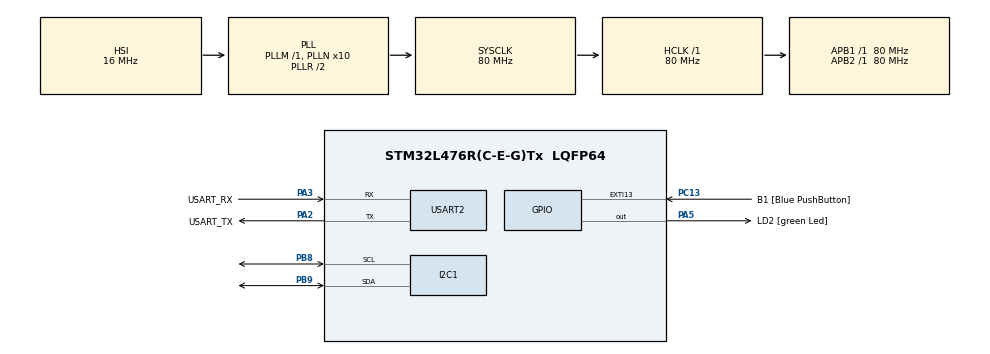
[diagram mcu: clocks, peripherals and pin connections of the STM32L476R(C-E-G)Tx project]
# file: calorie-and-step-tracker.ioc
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I2C1.Timing=0x10909CEC
Mcu.Family=STM32L4
Mcu.Name=STM32L476R(C-E-G)Tx
Mcu.Package=LQFP64
NVIC.PriorityGroup=NVIC_PRIORITYGROUP_4
PA13\ (JTMS-SWDIO).GPIO_Label=TMS
PA13\ (JTMS-SWDIO).Mode=Serial_Wire
PA13\ (JTMS-SWDIO).Signal=SYS_JTMS-SWDIO
PA14\ (JTCK-SWCLK).GPIO_Label=TCK
PA14\ (JTCK-SWCLK).Mode=Serial_Wire
PA14\ (JTCK-SWCLK).Signal=SYS_JTCK-SWCLK
PA2.GPIO_Label=USART_TX
PA2.GPIO_Mode=GPIO_MODE_AF_PP
PA2.GPIO_PuPd=GPIO_NOPULL
PA2.GPIO_Speed=GPIO_SPEED_FREQ_VERY_HIGH
PA2.Mode=Asynchronous
PA2.Signal=USART2_TX
PA3.GPIO_Label=USART_RX
PA3.GPIO_Mode=GPIO_MODE_AF_PP
PA3.GPIO_PuPd=GPIO_NOPULL
PA3.GPIO_Speed=GPIO_SPEED_FREQ_VERY_HIGH
PA3.Mode=Asynchronous
PA3.Signal=USART2_RX
PA5.GPIO_Label=LD2 [green Led]
PA5.GPIO_ModeDefaultOutputPP=GPIO_MODE_OUTPUT_PP
PA5.GPIO_PuPd=GPIO_NOPULL
PA5.GPIO_Speed=GPIO_SPEED_FREQ_LOW
PA5.Signal=GPIO_Output
PB3\ (JTDO-TRACESWO).GPIO_Label=SWO
PB3\ (JTDO-TRACESWO).Signal=SYS_JTDO-SWO
PB8.Mode=I2C
PB8.Signal=I2C1_SCL
PB9.Mode=I2C
PB9.Signal=I2C1_SDA
PC13.GPIO_Label=B1 [Blue PushButton]
PC13.GPIO_ModeDefaultEXTI=GPIO_MODE_IT_FALLING
PC13.GPIO_PuPd=GPIO_NOPULL
PC13.Signal=GPXTI13
PC14-OSC32_IN\ (PC14).Mode=LSE-External-Oscillator
PC14-OSC32_IN\ (PC14).Signal=RCC_OSC32_IN
PC15-OSC32_OUT\ (PC15).Mode=LSE-External-Oscillator
PC15-OSC32_OUT\ (PC15).Signal=RCC_OSC32_OUT
PH0-OSC_IN\ (PH0).Signal=RCC_OSC_IN
PH1-OSC_OUT\ (PH1).Signal=RCC_OSC_OUT
ProjectManager.HeapSize=0x200
ProjectManager.StackSize=0x400
ProjectManager.TargetToolchain=MDK-ARM V5.27
RCC.ADCFreq_Value=64000000
RCC.AHBFreq_Value=80000000
RCC.APB1Freq_Value=80000000
RCC.APB1TimFreq_Value=80000000
RCC.APB2Freq_Value=80000000
RCC.APB2TimFreq_Value=80000000
RCC.CortexFreq_Value=80000000
RCC.HCLKFreq_Value=80000000
RCC.HSE_VALUE=8000000
RCC.HSI_VALUE=16000000
RCC.MSI_VALUE=4000000
RCC.PLLN=10
RCC.PLLSourceVirtual=RCC_PLLSOURCE_HSI
RCC.PREFETCH_ENABLE=1
RCC.SYSCLKFreq_VALUE=80000000
RCC.SYSCLKSource=RCC_SYSCLKSOURCE_PLLCLK
RCC.USBFreq_Value=64000000
RCC.VCOOutputFreq_Value=160000000
USART2.VirtualMode-Asynchronous=VM_ASYNC
board=NUCLEO-L476RG

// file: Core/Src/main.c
/* USER CODE BEGIN Header */
/**
  ******************************************************************************
  * @file           : main.c
  * @brief          : Main program body
  ******************************************************************************
  * @attention
  *
  * <h2><center>&copy; Copyright (c) 2022 STMicroelectronics.
  * All rights reserved.</center></h2>
  *
  * This software component is licensed by ST under BSD 3-Clause license,
  * the "License"; You may not use this file except in compliance with the
  * License. You may obtain a copy of the License at:
  *                        opensource.org/licenses/BSD-3-Clause
  *
  ******************************************************************************
  */
/* USER CODE END Header */
#include "main.h"

/* USER CODE BEGIN Includes */
#include <string.h>
#include <stdio.h>
#include <stdint.h>
#include <stdbool.h>
#include <math.h>
#include "max30102_for_stm32_hal.h"
#include "ssd1306.h"
#include "fonts.h"
#include "test.h"
/* USER CODE END Includes */

/* USER CODE BEGIN PTD */
typedef enum PulseStateMachine {
    PULSE_IDLE,
	PULSE_TRACE_UP,
	PULSE_TRACE_DOWN
} PulseStateMachine;
/* USER CODE END PTD */

/* USER CODE BEGIN PD */
// Sensor Slaves
#define ACCEL_GYRO_SLAVE_ID		(0x00)
#define ACCEL_GYRO_ADDRESS      (0x68<<1)
// Step Threshold
#define STEP_THRESHOLD			(1.1)
// Pulse Detection Parameters
#define ALPHA                 	(0.90)
#define PULSE_MIN_THRESHOLD     (150)
#define PULSE_MAX_THRESHOLD     (2000)
#define PULSE_GO_DOWN_THRESHOLD (1)
#define PULSE_BPM_SAMPLE_SIZE   (10)
// Calorie Parameters
#define WEIGHT					(200) // in pounds
#define AGE						(25)
/* USER CODE END PD */

I2C_HandleTypeDef hi2c1;
UART_HandleTypeDef huart2;
HAL_StatusTypeDef I2C_Status;

/* USER CODE BEGIN PV */
struct fifo_t {
    uint32_t rawIR;
    uint32_t rawRed;
};

struct dcFilter_t {
    float w;
    float result;
};

struct meanDiffFilter_t {
    float values[10];
    uint8_t index;
    float sum;
    uint8_t count;
};

/* MPU-9250 */
// WHO_AM_I Register
static const uint8_t WHO_AM_I =                 0x75;
// Data Registers
static const uint8_t ACCEL_XOUT_H =             0x3B;
static const uint8_t GYRO_XOUT_H =              0x43;
// Configuration register
static const uint8_t PWR_MGMT_1 =               0x6B;
static const uint8_t INT_BYPASS_CONFIG_AD =     0x37;

/* MAX30101 */
// Status Registers
static const uint8_t MAX30105_INTSTAT1 =		0x00;
static const uint8_t MAX30105_INTSTAT2 =		0x01;
static const uint8_t MAX30105_INTENABLE1 =		0x02;
static const uint8_t MAX30105_INTENABLE2 =		0x03;
// FIFO Registers
static const uint8_t MAX30105_FIFOWRITEPTR = 	0x04;
static const uint8_t MAX30105_FIFOOVERFLOW = 	0x05;
static const uint8_t MAX30105_FIFOREADPTR = 	0x06;
static const uint8_t MAX30105_FIFODATA =		0x07;
// Configuration Registers
static const uint8_t MAX30105_FIFOCONFIG = 		0x08;
static const uint8_t MAX30105_MODECONFIG = 		0x09;
static const uint8_t MAX30105_SPO2CONFIG = 	    0x0A;
static const uint8_t MAX30105_LED1_PULSEAMP = 	0x0C;
static const uint8_t MAX30105_LED2_PULSEAMP = 	0x0D;
static const uint8_t MAX30105_LED3_PULSEAMP = 	0x0E;
static const uint8_t MAX30105_LED_PROX_AMP = 	0x10;
static const uint8_t MAX30105_MULTILEDCONFIG1 = 0x11;
static const uint8_t MAX30105_MULTILEDCONFIG2 = 0x12;
// Die Temperature Registers
static const uint8_t MAX30105_DIETEMPINT = 		0x1F;
static const uint8_t MAX30105_DIETEMPFRAC =     0x20;
static const uint8_t MAX30105_DIETEMPCONFIG = 	0x21;
// Proximity Function Registers
static const uint8_t MAX30105_PROXINTTHRESH = 	0x30;
// Part ID Registers
static const uint8_t MAX30105_REVISIONID = 		0xFE;
static const uint8_t MAX30105_PARTID = 			0xFF;

// Variables
uint8_t buf[100] =                          {0};
uint8_t data[500] =                         {0};
int16_t X_AXIS =                            0;
int16_t Y_AXIS =                            0;
int16_t Z_AXIS =                            0;
float X_OUTPUT =                            0.0;
float Y_OUTPUT =                            0.0;
float Z_OUTPUT =                            0.0;
uint32_t steps =                            0;
uint32_t counter =                          0;
uint8_t currentPulseDetectorState =         0;
uint32_t lastBeatThreshold =                0;
struct dcFilter_t dcFilterIR =              {0};
struct meanDiffFilter_t medianFilterIR =    {0};
float time =                                0;
max30102_t max30102;
/* USER CODE END PV */

void SystemClock_Config(void);
static void MX_GPIO_Init(void);
static void MX_I2C1_Init(void);
static void MX_USART2_UART_Init(void);
/* USER CODE BEGIN PFP */
void switchSlaveDevice(uint8_t command);
void wakeUpSensor(void);
void calculateAccelError(double *AccelXError, double *AccelYError, double *AccelZError);
void readAccelerometer(void);
void configureMAX3010X(void);
struct dcFilter_t dcRemoval(float x, float prev_w, float alpha);
float meanDiff(float M, struct meanDiffFilter_t* filterValues);
void detectPulse(float sensor_value);
/* USER CODE END PFP */

/* USER CODE BEGIN 0 */
void switchSlaveDevice(uint8_t command) {
    data[0] = command;
    /* Writing to the INT_BYPASS_CONFIG_AD register */
    I2C_Status = HAL_I2C_Mem_Write(&hi2c1, ACCEL_GYRO_ADDRESS, INT_BYPASS_CONFIG_AD, I2C_MEMADD_SIZE_8BIT, data, 1, HAL_MAX_DELAY);
    if ( I2C_Status != HAL_OK ) {
        strcpy((char*)buf, "Error switching slave device over I2C!\r\n");
        HAL_UART_Transmit(&huart2, buf, strlen((char*) buf), HAL_MAX_DELAY);
    }
    else{
        strcpy((char*)buf, "Success switching slave device over I2C!\r\n");
        HAL_UART_Transmit(&huart2, buf, strlen((char*) buf), HAL_MAX_DELAY);
    }
}

void wakeUpSensor(void) {
	/* Reading the WHO_AM_I register of the Accel-Gyro Slave */
	I2C_Status = HAL_I2C_Mem_Read(&hi2c1, ACCEL_GYRO_ADDRESS, WHO_AM_I, I2C_MEMADD_SIZE_8BIT, data, 1, HAL_MAX_DELAY);
	if ( I2C_Status != HAL_OK ) {
		strcpy((char*)buf, "Error Reading WHO_AM_I with I2C!\r\n");
		HAL_UART_Transmit(&huart2, buf, strlen((char*) buf), HAL_MAX_DELAY);
	}
	else
	{
		strcpy((char*)buf, "Success Reading WHO_AM_I with I2C!\r\n");
		HAL_UART_Transmit(&huart2, buf, strlen((char*) buf), HAL_MAX_DELAY);

		if(data[0] != 0x71) {
			strcpy((char*)buf, "Invalid WHO_AM_I Register value!\r\n");
			HAL_UART_Transmit(&huart2, buf, strlen((char*) buf), HAL_MAX_DELAY);
			sprintf((char*)buf, "Actual value is: %x\r\n", data[0]);
		HAL_UART_Transmit(&huart2, buf, strlen((char*) buf), HAL_MAX_DELAY);
		}
		else
		{
			strcpy((char*)buf, "Correct WHO_AM_I Register value!\r\n");
			HAL_UART_Transmit(&huart2, buf, strlen((char*) buf), HAL_MAX_DELAY);
		}
	}

	data[0] = 0x00;
	/* Writing to the PWR_MGMT_1 register to turn off the sleep mode */
	I2C_Status = HAL_I2C_Mem_Write(&hi2c1, ACCEL_GYRO_ADDRESS, PWR_MGMT_1, I2C_MEMADD_SIZE_8BIT, data, 1, HAL_MAX_DELAY);
	if ( I2C_Status != HAL_OK ) {
		strcpy((char*)buf, "Error Writing I2C!\r\n");
		HAL_UART_Transmit(&huart2, buf, strlen((char*) buf), HAL_MAX_DELAY);
	}
	else {
		strcpy((char*)buf, "Success Writing I2C!\r\n");
		HAL_UART_Transmit(&huart2, buf, strlen((char*) buf), HAL_MAX_DELAY);
	}
}

void calculateAccelError(double *AccelXError, double *AccelYError, double *AccelZError) {
/* ------------------------------------------ Calculating the ERROR  ---------------------------------------- */
	uint8_t counter = 0;
	while (counter < 100)
	{
		/* --------------------------------------- ACCELEROMETER ERROR --------------------------------------------- */
		for(uint8_t i = 0; i < 6; i++)
		{
			I2C_Status = HAL_I2C_Mem_Read(&hi2c1, ACCEL_GYRO_ADDRESS, (ACCEL_XOUT_H + i), I2C_MEMADD_SIZE_8BIT, (data + i), 1, HAL_MAX_DELAY);
			if ( I2C_Status != HAL_OK ) {
				strcpy((char*)buf, "Error Reading I2C!\r\n");
				HAL_UART_Transmit(&huart2, buf, strlen((char*) buf), HAL_MAX_DELAY);
			}
		}
		X_AXIS = (data[0] << 8) | data[1];
		Y_AXIS = (data[2] << 8) | data[3];
		Z_AXIS = (data[4] << 8) | data[5];

		*AccelXError += X_AXIS/16384.0;
		*AccelYError += Y_AXIS/16384.0;
		*AccelZError += Z_AXIS/16384.0;

		counter++;
	}
	*AccelXError = *AccelXError/100.0;
	*AccelYError = *AccelYError/100.0;
	*AccelZError = *AccelZError/100.0 - 1;
}

void readAccelerometer(void) {
	for(uint8_t i = 0; i < 6; i++)
	{
		I2C_Status = HAL_I2C_Mem_Read(&hi2c1, ACCEL_GYRO_ADDRESS, (ACCEL_XOUT_H + i), I2C_MEMADD_SIZE_8BIT, (data + i), 1, HAL_MAX_DELAY);
		if ( I2C_Status != HAL_OK ) {
			strcpy((char*)buf, "Error reading accelerometer data with I2C!\r\n");
			HAL_UART_Transmit(&huart2, buf, strlen((char*) buf), HAL_MAX_DELAY);
		}
	}
}
void configureMAX3010X(void) {
    uint8_t en_reg[2] = {0};
	en_reg[0] = 0x40;
	max30102_write(&max30102, MAX30105_MODECONFIG, en_reg, 1);

	en_reg[0] = 0x50;
	max30102_write(&max30102, MAX30105_FIFOCONFIG, en_reg, 1);

	en_reg[0] = 0x07;
	max30102_write(&max30102, MAX30105_MODECONFIG, en_reg, 1);

	en_reg[0] = 0x20 | 0x0C | 0x03;
	max30102_write(&max30102, MAX30105_SPO2CONFIG, en_reg, 1);

	en_reg[0] = 0x1F;
	max30102_write(&max30102, MAX30105_LED1_PULSEAMP, en_reg, 1);

	en_reg[0] = 0x1F;
	max30102_write(&max30102, MAX30105_LED2_PULSEAMP, en_reg, 1);

	en_reg[0] = 0x1F;
	max30102_write(&max30102, MAX30105_LED3_PULSEAMP, en_reg, 1);

	en_reg[0] = 0x1F;
	max30102_write(&max30102, MAX30105_LED_PROX_AMP, en_reg, 1);

	en_reg[0] = 0x01 | (0x02 << 4);
	max30102_write(&max30102, MAX30105_MULTILEDCONFIG1, en_reg, 1);

	en_reg[0] = 0x00;
	max30102_write(&max30102, MAX30105_FIFOWRITEPTR, en_reg, 1);

	en_reg[0] = 0x00;
	max30102_write(&max30102, MAX30105_FIFOOVERFLOW, en_reg, 1);

	en_reg[0] = 0x00;
	max30102_write(&max30102, MAX30105_FIFOREADPTR, en_reg, 1);

	en_reg[0] = 0x0A;
    max30102_write(&max30102, MAX30105_LED1_PULSEAMP, en_reg, 1);

	en_reg[0] = 0x00;
	max30102_write(&max30102, MAX30105_LED3_PULSEAMP, en_reg, 1);
}
struct dcFilter_t dcRemoval(float x, float prev_w, float alpha) {
    struct dcFilter_t filtered;
    filtered.w = x + alpha * prev_w;
    filtered.result = filtered.w - prev_w;

    return filtered;
}
float meanDiff(float M, struct meanDiffFilter_t* filterValues) {
    float avg = 0;

    filterValues->sum -= filterValues->values[filterValues->index];
    filterValues->values[filterValues->index] = M;
    filterValues->sum += filterValues->values[filterValues->index];

    filterValues->index++;
    filterValues->index = filterValues->index % 10;

    if(filterValues->count < 10)
        filterValues->count++;

    avg = filterValues->sum / filterValues->count;
    return avg - M;
}
void detectPulse(float sensor_value) {
    static float prev_sensor_value = 0;
    static uint8_t values_went_down = 0;
    static uint32_t currentBeat = 0;
    static uint32_t lastBeat = 0;

    if(sensor_value > PULSE_MAX_THRESHOLD)
    {
        currentPulseDetectorState = PULSE_IDLE;
        prev_sensor_value = 0;
        lastBeat = 0;
        currentBeat = 0;
        values_went_down = 0;
        lastBeatThreshold = 0;
        return;
    }

    switch(currentPulseDetectorState)
    {
        case PULSE_IDLE:
            if(sensor_value >= PULSE_MIN_THRESHOLD) {
                currentPulseDetectorState = PULSE_TRACE_UP;
                values_went_down = 0;
            }
            break;

        case PULSE_TRACE_UP:
            if(sensor_value > prev_sensor_value)
            {
                currentBeat = HAL_GetTick();
                lastBeatThreshold = sensor_value;
            }
            else
            {
                sprintf((char*)buf, "Peak reached: %f\r\n", sensor_value);
                HAL_UART_Transmit(&huart2, buf, strlen((char*) buf), HAL_MAX_DELAY);
                sprintf((char*)buf, "Previous value: %f\r\n", prev_sensor_value);
                HAL_UART_Transmit(&huart2, buf, strlen((char*) buf), HAL_MAX_DELAY);
                counter++;
                currentPulseDetectorState = PULSE_TRACE_DOWN;
                return;
            }
            break;

        case PULSE_TRACE_DOWN:
            if(sensor_value < prev_sensor_value)
            {
                values_went_down++;
            }

            if(sensor_value < PULSE_MIN_THRESHOLD)
            {
                currentPulseDetectorState = PULSE_IDLE;
            }
            break;
    }

    prev_sensor_value = sensor_value;
    return;
}
/* USER CODE END 0 */

int main(void)
{

    /* MCU Configuration--------------------------------------------------------*/

    /* Reset of all peripherals, Initializes the Flash interface and the Systick. */
    HAL_Init();

    /* Configure the system clock */
    SystemClock_Config();

    /* Initialize all configured peripherals */
    MX_GPIO_Init();
    MX_I2C1_Init();
    MX_USART2_UART_Init();

    /* USER CODE BEGIN 2 */
    /* MPU-9250 */
    switchSlaveDevice(ACCEL_GYRO_SLAVE_ID);
    wakeUpSensor();

    double AccelXError = 0.0;
    double AccelYError = 0.0;
    double AccelZError = 0.0;

    calculateAccelError(&AccelXError, &AccelYError, &AccelZError);
    /* USER CODE END 2 */

    /* MAX30101 */
    max30102_init(&max30102, &hi2c1);
    max30102_reset(&max30102);
    max30102_clear_fifo(&max30102);
    configureMAX3010X();

    /* SSD1306 */
    SSD1306_Init();

    float offset = HAL_GetTick();

    /* Infinite loop */
    /* USER CODE BEGIN WHILE */
    while (1)
    {
        HAL_GPIO_TogglePin (GPIOA, GPIO_PIN_5);
        HAL_Delay (100);

        /* Reading Acceleremeter Data */
        readAccelerometer();

        X_AXIS = (data[0] << 8) | data[1];
        Y_AXIS = (data[2] << 8) | data[3];
        Z_AXIS = (data[4] << 8) | data[5];

        X_OUTPUT = X_AXIS/16384.0 - AccelXError;
        Y_OUTPUT = Y_AXIS/16384.0 - AccelYError;
        Z_OUTPUT = Z_AXIS/16384.0 - AccelZError;

        strcpy((char*)buf, "====================ACC=============!\r\n");
        HAL_UART_Transmit(&huart2, buf, strlen((char*) buf), HAL_MAX_DELAY);
        sprintf((char*)buf, "%f", X_OUTPUT);
        HAL_UART_Transmit(&huart2, buf, strlen((char*) buf), HAL_MAX_DELAY);
        strcpy((char*)buf, "/");
        HAL_UART_Transmit(&huart2, buf, strlen((char*) buf), HAL_MAX_DELAY);
        sprintf((char*)buf, "%f", Y_OUTPUT);
        HAL_UART_Transmit(&huart2, buf, strlen((char*) buf), HAL_MAX_DELAY);
        strcpy((char*)buf, "/");
        HAL_UART_Transmit(&huart2, buf, strlen((char*) buf), HAL_MAX_DELAY);
        sprintf((char*)buf, "%f\r\n", Z_OUTPUT);
        HAL_UART_Transmit(&huart2, buf, strlen((char*) buf), HAL_MAX_DELAY);
        strcpy((char*)buf, "====================================!\r\n");
        HAL_UART_Transmit(&huart2, buf, strlen((char*) buf), HAL_MAX_DELAY);

        if ((STEP_THRESHOLD*STEP_THRESHOLD) < (X_OUTPUT*X_OUTPUT + Y_OUTPUT*Y_OUTPUT + Z_OUTPUT*Z_OUTPUT)){
            steps++;
        }
        strcpy((char*)buf, "===================STEPS============!\r\n");
        HAL_UART_Transmit(&huart2, buf, strlen((char*) buf), HAL_MAX_DELAY);
        sprintf((char*)buf, "%d\r\n", steps);
        HAL_UART_Transmit(&huart2, buf, strlen((char*) buf), HAL_MAX_DELAY);
        strcpy((char*)buf, "====================================!\r\n");
        HAL_UART_Transmit(&huart2, buf, strlen((char*) buf), HAL_MAX_DELAY);

        /* Reading Heart Rate Data */
        max30102_read_fifo(&max30102);
        dcFilterIR = dcRemoval((float)max30102._ir_samples[0], dcFilterIR.w, ALPHA);
        float result = meanDiff(dcFilterIR.result, &medianFilterIR);
        detectPulse(result);

        time = HAL_GetTick();
        time -= offset;
        time /= (60*1000);

        //if (time < 0.5) counter = 0;

        // Allow for half a minute to settle in
        float averageBPM = counter/(time - 0.2);
        if (averageBPM < 0) averageBPM = 0;
        float calories = (0.4472*averageBPM - 0.05741*WEIGHT + 0.074*AGE - 20.4022)*(time - 0.2)/4.184;

        /* Write data to display */
        SSD1306_GotoXY(5,2);
        sprintf((char*)buf, "Time[m]: %f", time);
        SSD1306_Puts((char*)buf, &Font_7x10, 1);
        SSD1306_GotoXY(5,17);
        sprintf((char*)buf, "Steps: %d", steps);
        SSD1306_Puts((char*)buf, &Font_7x10, 1);
        SSD1306_GotoXY(5, 32);
        sprintf((char*)buf, "ABPM: %f", averageBPM);
        SSD1306_Puts((char*)buf, &Font_7x10, 1);
        SSD1306_GotoXY(5, 47);
        sprintf((char*)buf, "Calories: %f", calories);
        SSD1306_Puts((char*)buf, &Font_7x10, 1);
        SSD1306_UpdateScreen();

        strcpy((char*)buf, "===================HR===============!\r\n");
        HAL_UART_Transmit(&huart2, buf, strlen((char*) buf), HAL_MAX_DELAY);
        sprintf((char*)buf, "IR result: %f\r\n", result);
        HAL_UART_Transmit(&huart2, buf, strlen((char*) buf), HAL_MAX_DELAY);
        sprintf((char*)buf, "Counter: %d\r\n", counter);
        HAL_UART_Transmit(&huart2, buf, strlen((char*) buf), HAL_MAX_DELAY);
        sprintf((char*)buf, "Average BPM: %f\r\n", averageBPM);
        HAL_UART_Transmit(&huart2, buf, strlen((char*) buf), HAL_MAX_DELAY);
        sprintf((char*)buf, "Calories: %f\r\n", calories);
        HAL_UART_Transmit(&huart2, buf, strlen((char*) buf), HAL_MAX_DELAY);
        sprintf((char*)buf, "Time: %f\r\n", time);
        HAL_UART_Transmit(&huart2, buf, strlen((char*) buf), HAL_MAX_DELAY);
        strcpy((char*)buf, "====================================!\r\n\n");
        HAL_UART_Transmit(&huart2, buf, strlen((char*) buf), HAL_MAX_DELAY);

        /* USER CODE END WHILE */

    }
}

void SystemClock_Config(void)
{
    RCC_OscInitTypeDef RCC_OscInitStruct = {0};
    RCC_ClkInitTypeDef RCC_ClkInitStruct = {0};
    RCC_PeriphCLKInitTypeDef PeriphClkInit = {0};

    /** Initializes the RCC Oscillators according to the specified parameters
    * in the RCC_OscInitTypeDef structure.
    */
    RCC_OscInitStruct.OscillatorType = RCC_OSCILLATORTYPE_HSI;
    RCC_OscInitStruct.HSIState = RCC_HSI_ON;
    RCC_OscInitStruct.HSICalibrationValue = RCC_HSICALIBRATION_DEFAULT;
    RCC_OscInitStruct.PLL.PLLState = RCC_PLL_ON;
    RCC_OscInitStruct.PLL.PLLSource = RCC_PLLSOURCE_HSI;
    RCC_OscInitStruct.PLL.PLLM = 1;
    RCC_OscInitStruct.PLL.PLLN = 10;
    RCC_OscInitStruct.PLL.PLLP = RCC_PLLP_DIV7;
    RCC_OscInitStruct.PLL.PLLQ = RCC_PLLQ_DIV2;
    RCC_OscInitStruct.PLL.PLLR = RCC_PLLR_DIV2;
    if (HAL_RCC_OscConfig(&RCC_OscInitStruct) != HAL_OK)
    {
        Error_Handler();
    }
    /** Initializes the CPU, AHB and APB buses clocks
    */
    RCC_ClkInitStruct.ClockType = RCC_CLOCKTYPE_HCLK|RCC_CLOCKTYPE_SYSCLK
                              |RCC_CLOCKTYPE_PCLK1|RCC_CLOCKTYPE_PCLK2;
    RCC_ClkInitStruct.SYSCLKSource = RCC_SYSCLKSOURCE_PLLCLK;
    RCC_ClkInitStruct.AHBCLKDivider = RCC_SYSCLK_DIV1;
    RCC_ClkInitStruct.APB1CLKDivider = RCC_HCLK_DIV1;
    RCC_ClkInitStruct.APB2CLKDivider = RCC_HCLK_DIV1;

    if (HAL_RCC_ClockConfig(&RCC_ClkInitStruct, FLASH_LATENCY_4) != HAL_OK)
    {
        Error_Handler();
    }
    PeriphClkInit.PeriphClockSelection = RCC_PERIPHCLK_USART2|RCC_PERIPHCLK_I2C1;
    PeriphClkInit.Usart2ClockSelection = RCC_USART2CLKSOURCE_PCLK1;
    PeriphClkInit.I2c1ClockSelection = RCC_I2C1CLKSOURCE_PCLK1;
    if (HAL_RCCEx_PeriphCLKConfig(&PeriphClkInit) != HAL_OK)
    {
        Error_Handler();
    }
    /** Configure the main internal regulator output voltage
    */
    if (HAL_PWREx_ControlVoltageScaling(PWR_REGULATOR_VOLTAGE_SCALE1) != HAL_OK)
    {
        Error_Handler();
    }
}

static void MX_I2C1_Init(void)
{

    hi2c1.Instance = I2C1;
    hi2c1.Init.Timing = 0x00702991;
    hi2c1.Init.OwnAddress1 = 0;
    hi2c1.Init.AddressingMode = I2C_ADDRESSINGMODE_7BIT;
    hi2c1.Init.DualAddressMode = I2C_DUALADDRESS_DISABLE;
    hi2c1.Init.OwnAddress2 = 0;
    hi2c1.Init.OwnAddress2Masks = I2C_OA2_NOMASK;
    hi2c1.Init.GeneralCallMode = I2C_GENERALCALL_DISABLE;
    hi2c1.Init.NoStretchMode = I2C_NOSTRETCH_DISABLE;
    if (HAL_I2C_Init(&hi2c1) != HAL_OK)
    {
        Error_Handler();
    }
    /** Configure Analogue filter
    */
    if (HAL_I2CEx_ConfigAnalogFilter(&hi2c1, I2C_ANALOGFILTER_ENABLE) != HAL_OK)
    {
        Error_Handler();
    }
    /** Configure Digital filter
    */
    if (HAL_I2CEx_ConfigDigitalFilter(&hi2c1, 0) != HAL_OK)
    {
        Error_Handler();
    }

}

static void MX_USART2_UART_Init(void)
{

    huart2.Instance = USART2;
    huart2.Init.BaudRate = 115200;
    huart2.Init.WordLength = UART_WORDLENGTH_8B;
    huart2.Init.StopBits = UART_STOPBITS_1;
    huart2.Init.Parity = UART_PARITY_NONE;
    huart2.Init.Mode = UART_MODE_TX_RX;
    huart2.Init.HwFlowCtl = UART_HWCONTROL_NONE;
    huart2.Init.OverSampling = UART_OVERSAMPLING_16;
    huart2.Init.OneBitSampling = UART_ONE_BIT_SAMPLE_DISABLE;
    huart2.AdvancedInit.AdvFeatureInit = UART_ADVFEATURE_NO_INIT;
    if (HAL_UART_Init(&huart2) != HAL_OK)
    {
        Error_Handler();
    }

}

static void MX_GPIO_Init(void)
{
    GPIO_InitTypeDef GPIO_InitStruct = {0};

    /* GPIO Ports Clock Enable */
    __HAL_RCC_GPIOC_CLK_ENABLE();
    __HAL_RCC_GPIOH_CLK_ENABLE();
    __HAL_RCC_GPIOA_CLK_ENABLE();
    __HAL_RCC_GPIOB_CLK_ENABLE();

    /*Configure GPIO pin Output Level */
    HAL_GPIO_WritePin(LD2_GPIO_Port, LD2_Pin, GPIO_PIN_RESET);

    /*Configure GPIO pin : B1_Pin */
    GPIO_InitStruct.Pin = B1_Pin;
    GPIO_InitStruct.Mode = GPIO_MODE_IT_FALLING;
    GPIO_InitStruct.Pull = GPIO_NOPULL;
    HAL_GPIO_Init(B1_GPIO_Port, &GPIO_InitStruct);

    /*Configure GPIO pin : LD2_Pin */
    GPIO_InitStruct.Pin = LD2_Pin;
    GPIO_InitStruct.Mode = GPIO_MODE_OUTPUT_PP;
    GPIO_InitStruct.Pull = GPIO_NOPULL;
    GPIO_InitStruct.Speed = GPIO_SPEED_FREQ_LOW;
    HAL_GPIO_Init(LD2_GPIO_Port, &GPIO_InitStruct);

}

void Error_Handler(void)
{
    __disable_irq();
    while (1)
    {
    }
}

/************************ (C) COPYRIGHT STMicroelectronics *****END OF FILE****/
